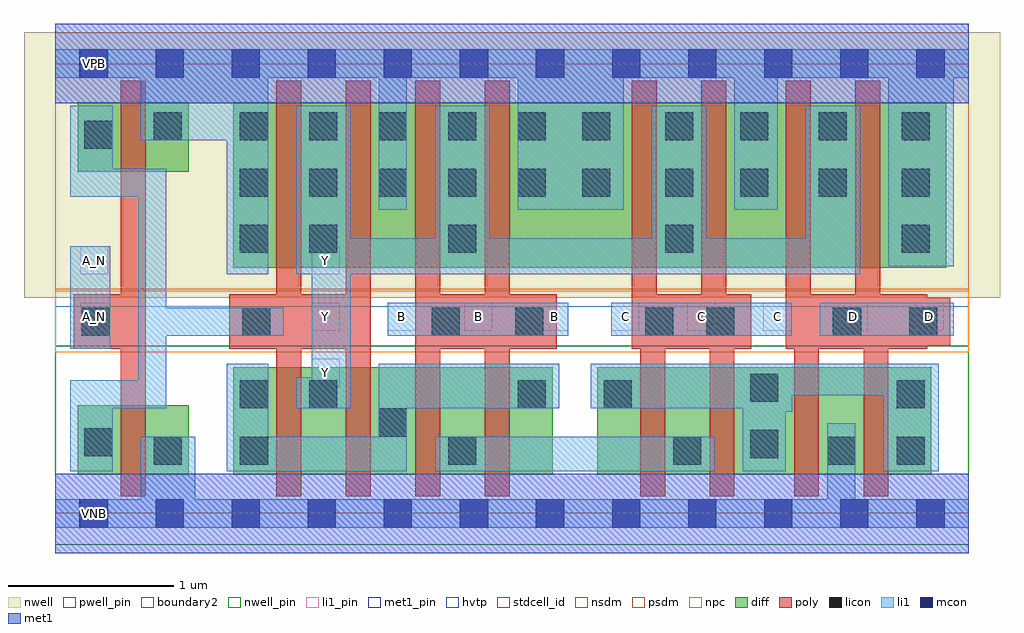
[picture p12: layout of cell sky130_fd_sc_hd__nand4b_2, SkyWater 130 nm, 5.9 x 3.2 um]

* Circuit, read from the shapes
.subckt sky130_fd_sc_hd__nand4b_2 A_N B C D VGND VNB VPB VPWR Y
XM1 VGND A_N n1 VNB sky130_fd_pr__nfet_01v8 w=0.42 l=0.15
XM2 Y n1 n2 VNB sky130_fd_pr__nfet_01v8 w=0.65 l=0.15 m=2
XM3 n3 B n2 VNB sky130_fd_pr__nfet_01v8 w=0.65 l=0.15 m=2
XM4 n3 C n4 VNB sky130_fd_pr__nfet_01v8 w=0.65 l=0.15 m=2
XM5 VGND D n4 VNB sky130_fd_pr__nfet_01v8 w=0.65 l=0.15 m=2
XM6 VPWR A_N n1 VPB sky130_fd_pr__pfet_01v8_hvt w=0.42 l=0.15
XM7 Y n1 VPWR VPB sky130_fd_pr__pfet_01v8_hvt w=1 l=0.15 m=2
XM8 Y B VPWR VPB sky130_fd_pr__pfet_01v8_hvt w=1 l=0.15 m=2
XM9 Y C VPWR VPB sky130_fd_pr__pfet_01v8_hvt w=1 l=0.15 m=2
XM10 Y D VPWR VPB sky130_fd_pr__pfet_01v8_hvt w=1 l=0.15 m=2
.ends

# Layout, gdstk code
import gdstk
lib = gdstk.Library(unit=1e-6, precision=1e-09)
def R(c, l, rs):  # rectangles x0, y0, x1, y1
    for r in rs: c.add(gdstk.rectangle(r[:2], r[2:], *l))
def A(c, l, x, y, w, h, nx, ny, dx, dy):  # array of equal rectangles
    R(c, l, [(x+i*dx, y+j*dy, x+i*dx+w, y+j*dy+h) for i in range(nx) for j in range(ny)])
def P(c, l, *ps):  # polygons
    for p in ps: c.add(gdstk.Polygon(p, *l))
nwell_pin = (64, 16)
nwell = (64, 20)
diff = (65, 20)
poly = (66, 20)
licon = (66, 44)
li1_pin = (67, 16)
li1 = (67, 20)
mcon = (67, 44)
met1_pin = (68, 16)
met1 = (68, 20)
hvtp = (78, 44)
stdcell_id = (81, 4)
nsdm = (93, 44)
psdm = (94, 20)
npc = (95, 20)
pwell_pin = (122, 16)
boundary2 = (236, 0)

sky130_fd_sc_hd__nand4b_ = lib.new_cell('sky130_fd_sc_hd__nand4b_2')
R(sky130_fd_sc_hd__nand4b_, nwell_pin, [(0.15,2.635,0.32,2.805)])
R(sky130_fd_sc_hd__nand4b_, nwell, [(-0.19,1.305,5.71,2.91)])
R(sky130_fd_sc_hd__nand4b_, diff, [(0.135,0.235,0.805,0.655), (1.075,0.235,3.005,0.885), (3.275,0.235,5.295,0.885), (1.075,1.485,5.385,2.485), (0.135,2.065,0.805,2.485)])
R(sky130_fd_sc_hd__nand4b_, poly, [(5.27,1.015,5.41,1.025), (5.27,1.295,5.41,1.305)])
P(sky130_fd_sc_hd__nand4b_, poly, [(0.545,2.615),(0.395,2.615),(0.395,1.325),(0.11,1.325),(0.11,0.995),(0.395,0.995),(0.395,0.105),(0.545,0.105)],
  [(1.905,2.615),(1.755,2.615),(1.755,1.325),(1.485,1.325),(1.485,2.615),(1.335,2.615),(1.335,1.325),(1.05,1.325),(1.05,0.995),(1.335,0.995),(1.335,0.105),(1.485,0.105),(1.485,0.995),(1.755,0.995),(1.755,0.105),(1.905,0.105)],
  [(3.03,1.325),(2.745,1.325),(2.745,2.615),(2.595,2.615),(2.595,1.325),(2.325,1.325),(2.325,2.615),(2.175,2.615),(2.175,0.105),(2.325,0.105),(2.325,0.995),(2.595,0.995),(2.595,0.105),(2.745,0.105),(2.745,0.995),(3.03,0.995)],
  [(5.41,1.295),(5.27,1.295),(5.27,1.325),(4.985,1.325),(4.985,2.615),(4.835,2.615),(4.835,1.325),(4.565,1.325),(4.565,2.615),(4.415,2.615),(4.415,0.995),(4.465,0.995),(4.465,0.105),(4.615,0.105),(4.615,0.995),(4.885,0.995),(4.885,0.105),(5.035,0.105),(5.035,0.995),(5.27,0.995),(5.27,1.025),(5.41,1.025)],
  [(4.205,1.325),(4.055,1.325),(4.055,2.615),(3.905,2.615),(3.905,1.325),(3.635,1.325),(3.635,2.615),(3.485,2.615),(3.485,0.995),(3.535,0.995),(3.535,0.105),(3.685,0.105),(3.685,0.995),(3.955,0.995),(3.955,0.105),(4.105,0.105),(4.105,0.995),(4.205,0.995)])
A(sky130_fd_sc_hd__nand4b_, licon, 3.685, 1.575, 0.17, 0.17, 1, 3, 0, 0.34)
A(sky130_fd_sc_hd__nand4b_, licon, 5.115, 1.575, 0.17, 0.17, 1, 3, 0, 0.34)
A(sky130_fd_sc_hd__nand4b_, licon, 1.115, 1.915, 0.17, 0.17, 5, 2, 0.42, 0.34)
R(sky130_fd_sc_hd__nand4b_, licon, [(0.595,0.295,0.765,0.465), (1.115,0.295,1.285,0.465), (2.375,0.295,2.545,0.465), (3.735,0.295,3.905,0.465), (4.665,0.295,4.835,0.465), (5.085,0.295,5.255,0.465), (4.2,0.335,4.37,0.505), (0.175,0.345,0.345,0.515), (1.955,0.465,2.125,0.635), (1.115,0.635,1.285,0.805), (1.535,0.635,1.705,0.805), (2.795,0.635,2.965,0.805), (3.315,0.635,3.485,0.805), (5.085,0.635,5.255,0.805), (4.2,0.675,4.37,0.845), (0.16,1.075,0.33,1.245), (1.13,1.075,1.3,1.245), (2.275,1.075,2.445,1.245), (2.78,1.075,2.95,1.245), (3.565,1.075,3.735,1.245), (3.935,1.075,4.105,1.245), (4.7,1.075,4.87,1.245), (5.16,1.075,5.33,1.245), (1.115,1.575,1.285,1.745), (1.535,1.575,1.705,1.745), (2.375,1.575,2.545,1.745), (3.185,1.915,3.355,2.085), (4.14,1.915,4.31,2.085), (4.615,1.915,4.785,2.085), (0.175,2.205,0.345,2.375), (0.595,2.255,0.765,2.425), (3.185,2.255,3.355,2.425), (4.14,2.255,4.31,2.425), (4.615,2.255,4.785,2.425)])
A(sky130_fd_sc_hd__nand4b_, li1_pin, 1.55, 1.105, 0.17, 0.17, 4, 1, 0.46, 0)
A(sky130_fd_sc_hd__nand4b_, li1_pin, 3.36, 1.105, 0.17, 0.17, 5, 1, 0.46, 0)
R(sky130_fd_sc_hd__nand4b_, li1_pin, [(1.55,0.765,1.72,0.935), (0.15,1.105,0.32,1.275), (0.15,1.445,0.32,1.615), (1.55,1.445,1.72,1.615)])
R(sky130_fd_sc_hd__nand4b_, li1, [(2.295,0.255,3.985,0.465), (0.09,0.995,0.33,1.615), (2.01,1.075,3.1,1.275), (3.36,1.075,4.45,1.275), (4.62,1.075,5.43,1.275)])
P(sky130_fd_sc_hd__nand4b_, li1, [(5.34,0.905),(3.235,0.905),(3.235,0.635),(4.155,0.635),(4.155,0.255),(4.415,0.255),(4.415,0.615),(4.455,0.615),(4.455,0.715),(5.005,0.715),(5.005,0.255),(5.34,0.255)],
  [(5.52,2.805),(0,2.805),(0,2.635),(0.515,2.635),(0.515,2.255),(1.035,2.255),(1.035,1.445),(1.285,1.445),(1.285,2.635),(1.955,2.635),(1.955,1.835),(2.125,1.835),(2.125,2.635),(2.795,2.635),(2.795,1.835),(3.435,1.835),(3.435,2.635),(4.105,2.635),(4.105,1.835),(4.365,1.835),(4.365,2.635),(5.035,2.635),(5.035,1.495),(5.43,1.495),(5.43,2.635),(5.52,2.635)],
  [(4.865,2.465),(4.535,2.465),(4.535,1.665),(3.935,1.665),(3.935,2.465),(3.605,2.465),(3.605,1.665),(2.625,1.665),(2.625,2.465),(2.295,2.465),(2.295,1.665),(1.785,1.665),(1.785,2.465),(1.455,2.465),(1.455,1.445),(1.55,1.445),(1.55,0.825),(1.455,0.825),(1.455,0.635),(1.785,0.635),(1.785,1.445),(4.865,1.445)],
  [(1.38,1.245),(0.67,1.245),(0.67,2.085),(0.345,2.085),(0.345,2.465),(0.09,2.465),(0.09,1.915),(0.5,1.915),(0.5,0.805),(0.09,0.805),(0.09,0.255),(0.345,0.255),(0.345,0.635),(0.67,0.635),(0.67,1.075),(1.38,1.075)],
  [(5.52,0.085),(4.835,0.085),(4.835,0.545),(4.665,0.545),(4.665,0.085),(0.845,0.085),(0.845,0.465),(0.515,0.465),(0.515,0.085),(0,0.085),(0,-0.085),(5.52,-0.085)],
  [(3.045,0.905),(1.955,0.905),(1.955,0.465),(1.285,0.465),(1.285,0.905),(1.035,0.905),(1.035,0.255),(2.125,0.255),(2.125,0.635),(3.045,0.635)])
A(sky130_fd_sc_hd__nand4b_, mcon, 0.145, -0.085, 0.17, 0.17, 12, 2, 0.46, 2.72)
R(sky130_fd_sc_hd__nand4b_, met1_pin, [(0.15,-0.085,0.32,0.085), (0.15,2.635,0.32,2.805)])
R(sky130_fd_sc_hd__nand4b_, hvtp, [(0,1.25,5.52,2.72)])
R(sky130_fd_sc_hd__nand4b_, stdcell_id, [(0,0,5.52,2.72)])
R(sky130_fd_sc_hd__nand4b_, nsdm, [(0,-0.19,5.52,1.015)])
R(sky130_fd_sc_hd__nand4b_, psdm, [(0,1.355,5.52,2.91)])
R(sky130_fd_sc_hd__nand4b_, npc, [(0,0.975,5.52,1.345)])
R(sky130_fd_sc_hd__nand4b_, pwell_pin, [(0.15,-0.085,0.32,0.085)])
R(sky130_fd_sc_hd__nand4b_, boundary2, [(0,0,5.52,2.72)])
sky130_fd_sc_hd__nand4b_.add(gdstk.FlexPath([(0,2.72),(5.52,2.72)], 0.48, ends="flush", simple_path=True, layer=68, datatype=20))  # met1
sky130_fd_sc_hd__nand4b_.add(gdstk.FlexPath([(0,0),(5.52,0)], 0.48, ends="flush", simple_path=True, layer=68, datatype=20))  # met1
sky130_fd_sc_hd__nand4b_.add(gdstk.Label('D', (5.285,1.19), layer=67, texttype=5))
sky130_fd_sc_hd__nand4b_.add(gdstk.Label('D', (4.825,1.19), layer=67, texttype=5))
sky130_fd_sc_hd__nand4b_.add(gdstk.Label('C', (4.365,1.19), layer=67, texttype=5))
sky130_fd_sc_hd__nand4b_.add(gdstk.Label('C', (3.905,1.19), layer=67, texttype=5))
sky130_fd_sc_hd__nand4b_.add(gdstk.Label('C', (3.445,1.19), layer=67, texttype=5))
sky130_fd_sc_hd__nand4b_.add(gdstk.Label('B', (3.015,1.19), layer=67, texttype=5))
sky130_fd_sc_hd__nand4b_.add(gdstk.Label('B', (2.555,1.19), layer=67, texttype=5))
sky130_fd_sc_hd__nand4b_.add(gdstk.Label('B', (2.095,1.19), layer=67, texttype=5))
sky130_fd_sc_hd__nand4b_.add(gdstk.Label('Y', (1.635,0.85), layer=67, texttype=5))
sky130_fd_sc_hd__nand4b_.add(gdstk.Label('Y', (1.635,1.19), layer=67, texttype=5))
sky130_fd_sc_hd__nand4b_.add(gdstk.Label('Y', (1.635,1.53), layer=67, texttype=5))
sky130_fd_sc_hd__nand4b_.add(gdstk.Label('A_N', (0.235,1.53), layer=67, texttype=5))
sky130_fd_sc_hd__nand4b_.add(gdstk.Label('A_N', (0.235,1.19), layer=67, texttype=5))
sky130_fd_sc_hd__nand4b_.add(gdstk.Label('VNB', (0.235,0), layer=64, texttype=59))
sky130_fd_sc_hd__nand4b_.add(gdstk.Label('VPB', (0.235,2.72), layer=64, texttype=5))
sky130_fd_sc_hd__nand4b_.add(gdstk.Label('VGND', (0.235,0), layer=68, texttype=5))
sky130_fd_sc_hd__nand4b_.add(gdstk.Label('VPWR', (0.235,2.72), layer=68, texttype=5))
sky130_fd_sc_hd__nand4b_.add(gdstk.Label('nand4b_2', (0,0), layer=83, texttype=44))

lib.write_gds('sky130_fd_sc_hd__nand4b_2.gds')
